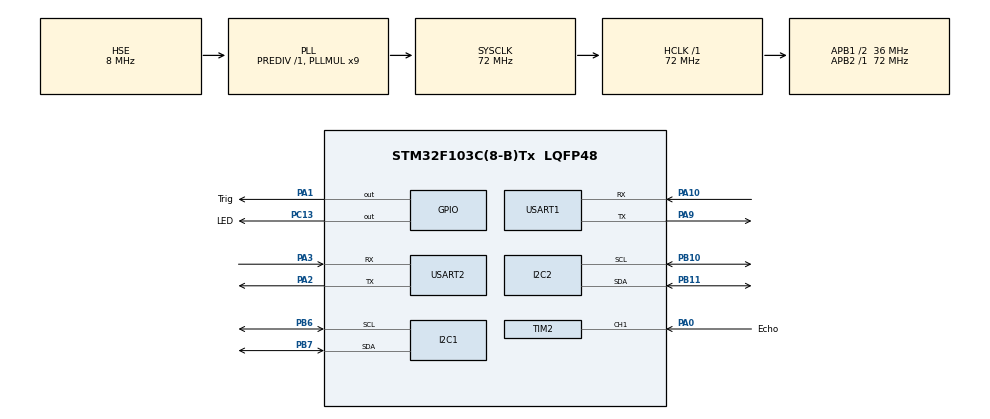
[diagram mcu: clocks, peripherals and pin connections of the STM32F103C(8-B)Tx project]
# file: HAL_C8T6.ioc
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FREERTOS.Events01=activeEvent,Dynamic,NULL
FREERTOS.INCLUDE_xEventGroupSetBitFromISR=1
FREERTOS.Tasks01=defaultTask,24,128,StartDefaultTask,Default,NULL,Dynamic,NULL,NULL;active,8,128,active_task,Default,NULL,Dynamic,NULL,NULL
FREERTOS.configUSE_PREEMPTION=1
Mcu.Family=STM32F1
Mcu.Name=STM32F103C(8-B)Tx
Mcu.Package=LQFP48
NVIC.PriorityGroup=NVIC_PRIORITYGROUP_4
NVIC.TIM2_IRQn=true\:5\:0\:false\:false\:true\:true\:true\:true\:true
NVIC.TIM4_IRQn=true\:15\:0\:false\:false\:true\:false\:false\:true\:true
NVIC.TimeBase=TIM4_IRQn
NVIC.TimeBaseIP=TIM4
NVIC.USART1_IRQn=true\:5\:0\:false\:false\:true\:true\:true\:true\:true
NVIC.USART2_IRQn=true\:5\:0\:false\:false\:true\:true\:true\:true\:true
PA0-WKUP.GPIO_Label=Echo
PA0-WKUP.Signal=S_TIM2_CH1_ETR
PA1.GPIO_Label=Trig
PA1.GPIO_PuPd=GPIO_PULLUP
PA1.GPIO_Speed=GPIO_SPEED_FREQ_HIGH
PA1.Signal=GPIO_Output
PA10.Mode=Asynchronous
PA10.Signal=USART1_RX
PA13.Mode=Serial_Wire
PA13.Signal=SYS_JTMS-SWDIO
PA14.Mode=Serial_Wire
PA14.Signal=SYS_JTCK-SWCLK
PA2.Mode=Asynchronous
PA2.Signal=USART2_TX
PA3.Mode=Asynchronous
PA3.Signal=USART2_RX
PA9.Mode=Asynchronous
PA9.Signal=USART1_TX
PB10.Mode=I2C
PB10.Signal=I2C2_SCL
PB11.Mode=I2C
PB11.Signal=I2C2_SDA
PB6.GPIO_Speed=GPIO_SPEED_FREQ_HIGH
PB6.Mode=I2C
PB6.Signal=I2C1_SCL
PB7.GPIO_Speed=GPIO_SPEED_FREQ_HIGH
PB7.Mode=I2C
PB7.Signal=I2C1_SDA
PC13-TAMPER-RTC.GPIO_Label=LED
PC13-TAMPER-RTC.GPIO_PuPd=GPIO_NOPULL
PC13-TAMPER-RTC.GPIO_Speed=GPIO_SPEED_FREQ_MEDIUM
PC13-TAMPER-RTC.PinState=GPIO_PIN_RESET
PC13-TAMPER-RTC.Signal=GPIO_Output
PD0-OSC_IN.Mode=HSE-External-Oscillator
PD0-OSC_IN.Signal=RCC_OSC_IN
PD1-OSC_OUT.Mode=HSE-External-Oscillator
PD1-OSC_OUT.Signal=RCC_OSC_OUT
ProjectManager.HeapSize=0x200
ProjectManager.StackSize=0x400
ProjectManager.TargetToolchain=STM32CubeIDE
RCC.AHBFreq_Value=72000000
RCC.APB1CLKDivider=RCC_HCLK_DIV2
RCC.APB1Freq_Value=36000000
RCC.APB1TimFreq_Value=72000000
RCC.APB2Freq_Value=72000000
RCC.APB2TimFreq_Value=72000000
RCC.HCLKFreq_Value=72000000
RCC.PLLMUL=RCC_PLL_MUL9
RCC.PLLSourceVirtual=RCC_PLLSOURCE_HSE
RCC.SYSCLKFreq_VALUE=72000000
RCC.SYSCLKSource=RCC_SYSCLKSOURCE_PLLCLK
RCC.USBFreq_Value=72000000
SH.S_TIM2_CH1_ETR.0=TIM2_CH1,Input_Capture1_from_TI1
TIM2.AutoReloadPreload=TIM_AUTORELOAD_PRELOAD_ENABLE
TIM2.Channel-Input_Capture1_from_TI1=TIM_CHANNEL_1
TIM2.Prescaler=71
USART1.VirtualMode=VM_ASYNC
USART2.VirtualMode=VM_ASYNC
VP_FREERTOS_VS_CMSIS_V2.Mode=CMSIS_V2
VP_SYS_VS_tim4.Mode=TIM4
VP_TIM2_VS_ClockSourceINT.Mode=Internal
board=custom

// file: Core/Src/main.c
/* USER CODE BEGIN Header */
/**
  ******************************************************************************
  * @file           : main.c
  * @brief          : Main program body
  ******************************************************************************
  * @attention
  *
  * Copyright (c) 2024 STMicroelectronics.
  * All rights reserved.
  *
  * This software is licensed under terms that can be found in the LICENSE file
  * in the root directory of this software component.
  * If no LICENSE file comes with this software, it is provided AS-IS.
  *
  ******************************************************************************
  */
/* USER CODE END Header */
#include "main.h"
#include "cmsis_os.h"
#include "i2c.h"
#include "tim.h"
#include "usart.h"
#include "gpio.h"

/* USER CODE BEGIN Includes */
#include "PCA9685.h"
#include "ssd1306.h"
#include "mpu6050.h"

/* USER CODE END Includes */

void SystemClock_Config(void);
void MX_FREERTOS_Init(void);

int main(void)
{

  /* MCU Configuration--------------------------------------------------------*/

  /* Reset of all peripherals, Initializes the Flash interface and the Systick. */
  HAL_Init();

  /* Configure the system clock */
  SystemClock_Config();

  /* Initialize all configured peripherals */
  MX_GPIO_Init();
  MX_I2C1_Init();
  MX_USART2_UART_Init();
  MX_TIM2_Init();
  MX_USART1_UART_Init();
  MX_I2C2_Init();
  /* USER CODE BEGIN 2 */
  PCA_MG9XX_Init(55); //实际频率为50Hz
  ssd1306_init();
  MPU6050_Init();
  HAL_UART_Receive_IT(&huart2, TempBuffer, 1);
  HAL_TIM_IC_Start_IT(&htim2, TIM_CHANNEL_1);
  /* USER CODE END 2 */

  /* Init scheduler */
  osKernelInitialize();

  /* Call init function for freertos objects (in cmsis_os2.c) */
  MX_FREERTOS_Init();

  /* Start scheduler */
  osKernelStart();

  /* We should never get here as control is now taken by the scheduler */

  /* Infinite loop */
  while (1)
  {

  }
}

void SystemClock_Config(void)
{
  RCC_OscInitTypeDef RCC_OscInitStruct = {0};
  RCC_ClkInitTypeDef RCC_ClkInitStruct = {0};

  /** Initializes the RCC Oscillators according to the specified parameters
  * in the RCC_OscInitTypeDef structure.
  */
  RCC_OscInitStruct.OscillatorType = RCC_OSCILLATORTYPE_HSE;
  RCC_OscInitStruct.HSEState = RCC_HSE_ON;
  RCC_OscInitStruct.HSEPredivValue = RCC_HSE_PREDIV_DIV1;
  RCC_OscInitStruct.HSIState = RCC_HSI_ON;
  RCC_OscInitStruct.PLL.PLLState = RCC_PLL_ON;
  RCC_OscInitStruct.PLL.PLLSource = RCC_PLLSOURCE_HSE;
  RCC_OscInitStruct.PLL.PLLMUL = RCC_PLL_MUL9;
  if (HAL_RCC_OscConfig(&RCC_OscInitStruct) != HAL_OK)
  {
    Error_Handler();
  }

  /** Initializes the CPU, AHB and APB buses clocks
  */
  RCC_ClkInitStruct.ClockType = RCC_CLOCKTYPE_HCLK|RCC_CLOCKTYPE_SYSCLK
                              |RCC_CLOCKTYPE_PCLK1|RCC_CLOCKTYPE_PCLK2;
  RCC_ClkInitStruct.SYSCLKSource = RCC_SYSCLKSOURCE_PLLCLK;
  RCC_ClkInitStruct.AHBCLKDivider = RCC_SYSCLK_DIV1;
  RCC_ClkInitStruct.APB1CLKDivider = RCC_HCLK_DIV2;
  RCC_ClkInitStruct.APB2CLKDivider = RCC_HCLK_DIV1;

  if (HAL_RCC_ClockConfig(&RCC_ClkInitStruct, FLASH_LATENCY_2) != HAL_OK)
  {
    Error_Handler();
  }
}

void HAL_TIM_PeriodElapsedCallback(TIM_HandleTypeDef *htim)
{
  if (htim->Instance == TIM4) {
    HAL_IncTick();
  }
}

void Error_Handler(void)
{
  __disable_irq();
  while (1)
  {
  }
}

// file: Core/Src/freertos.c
/* USER CODE BEGIN Header */
/**
  ******************************************************************************
  * File Name          : freertos.c
  * Description        : Code for freertos applications
  ******************************************************************************
  * @attention
  *
  * Copyright (c) 2024 STMicroelectronics.
  * All rights reserved.
  *
  * This software is licensed under terms that can be found in the LICENSE file
  * in the root directory of this software component.
  * If no LICENSE file comes with this software, it is provided AS-IS.
  *
  ******************************************************************************
  */
/* USER CODE END Header */

#include "FreeRTOS.h"
#include "task.h"
#include "main.h"
#include "cmsis_os.h"

/* USER CODE BEGIN Includes */
#include "PCA9685.h"
#include "ssd1306.h"
#include "globals.h"
#include "SR04.h"
#include "mpu6050.h"

/* USER CODE END Includes */

/* USER CODE BEGIN PTD */
char distance_buffer[20];  // 用来存储格式化后的距离字符串
/* USER CODE END PTD */

/* USER CODE BEGIN PM */

/* USER CODE BEGIN 2 */

/* USER CODE END 2 */
/* USER CODE END PM */

/* Definitions for defaultTask */
osThreadId_t defaultTaskHandle;
const osThreadAttr_t defaultTask_attributes = {
  .name = "defaultTask",
  .stack_size = 128 * 4,
  .priority = (osPriority_t) osPriorityNormal,
};
/* Definitions for active */
osThreadId_t activeHandle;
const osThreadAttr_t active_attributes = {
  .name = "active",
  .stack_size = 128 * 4,
  .priority = (osPriority_t) osPriorityLow,
};
/* Definitions for activeEvent */
osEventFlagsId_t activeEventHandle;
const osEventFlagsAttr_t activeEvent_attributes = {
  .name = "activeEvent"
};

void StartDefaultTask(void *argument);
void active_task(void *argument);

void MX_FREERTOS_Init(void); /* (MISRA C 2004 rule 8.1) */

void MX_FREERTOS_Init(void) {

  /* Create the thread(s) */
  /* creation of defaultTask */
  defaultTaskHandle = osThreadNew(StartDefaultTask, NULL, &defaultTask_attributes);

  /* creation of active */
  activeHandle = osThreadNew(active_task, NULL, &active_attributes);

  /* Create the event(s) */
  /* creation of activeEvent */
  activeEventHandle = osEventFlagsNew(&activeEvent_attributes);

}

void StartDefaultTask(void *argument)
{
  /* USER CODE BEGIN StartDefaultTask */
  /* Infinite loop */
  for(;;) {
    // GyroData gyroDataStruct;
    display_oled();
    osDelay(10);
    // advance_bot_init();
    // MPU6050_GetAccelData(&gyroDataStruct);
  }
  /* USER CODE END StartDefaultTask */
}

void active_task(void *argument)
{
  /* USER CODE BEGIN active_task */
  /* Infinite loop */
  for(;;) {
    // 创建结构体变量用于存储陀螺仪数据
    // GyroData gyroDataStruct;
    osEventFlagsWait(activeEventHandle, 0x01, osFlagsWaitAny, osWaitForever);
    while(1) {
      switch(activeTask) {
        case 1:
          ssd1306_clear_area(60,20,128,40);
          ssd1306_set_cursor(60, 35);
          ssd1306_write_string(font6x8, "advance  ");
          if(SR04_GetData() <= 40) {
            HAL_GPIO_TogglePin(LED_GPIO_Port,LED_Pin);
            advance_bot_init();
          } else {
            advance();
          }
          break;
        case 2:
          ssd1306_clear_area(60,20,250,40);
          ssd1306_set_cursor(60, 35);
          ssd1306_write_string(font6x8, "turn left");
          turn_left();
          break;
        case 3:
          ssd1306_clear_area(60,20,250,40);
          ssd1306_set_cursor(60, 35);
          ssd1306_write_string(font6x8, "turn right");
          turn_right();
          break;
        case 4:
          ssd1306_clear_area(60,20,250,40);
          ssd1306_set_cursor(60, 35);
          ssd1306_write_string(font6x8, "back      ");
          back();
          break;
        case 5:
          ssd1306_clear_area(60,20,250,40);
          ssd1306_set_cursor(60, 35);
          ssd1306_write_string(font6x8, "stop      ");
          advance_bot_init();
          break;
        default:
          break;
      }
      osDelay(100);
    }
  }
  /* USER CODE END active_task */
}
